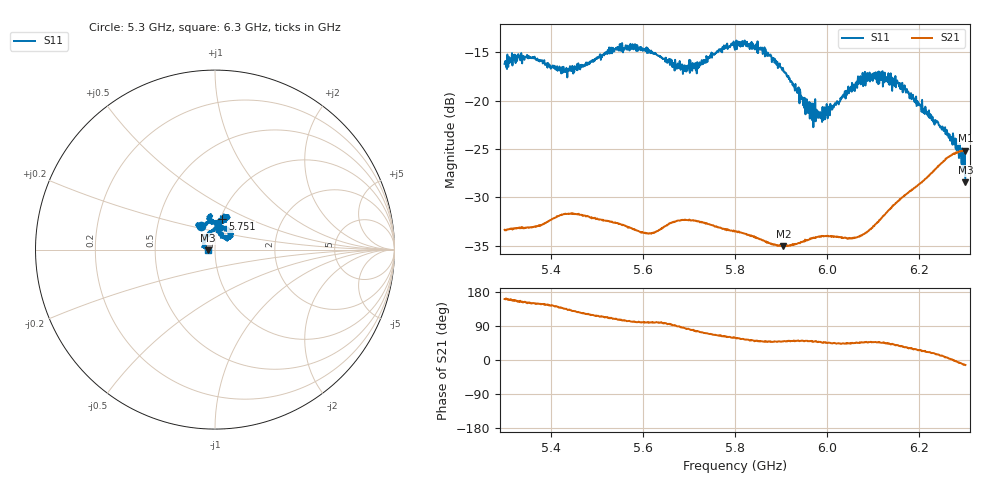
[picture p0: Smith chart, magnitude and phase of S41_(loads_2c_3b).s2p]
! NanoVNA-App
! Date: 2026-11-04 22:40:15
! Start: 5,3GHz Stop: 6,3GHz Points: 1001
! S-Parameter data: F S11 S21 S12 S22
# Hz S RI R 50
!  Frequency  S11_Real  S11_Imag  S21_Real  S21_Imag  S12_Real  S12_Imag  S22_Real  S22_Imag
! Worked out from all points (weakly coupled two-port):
!   1001 points, 5.3 GHz to 6.3 GHz, reference 50 ohm
!   highest |S21| = -25.15 dB at 6.3 GHz (marker M1); lowest = -35.0 dB at 5.905 GHz (marker M2)
!   lowest |S11| = -28.4 dB at 6.3 GHz (marker M3), VSWR 1.08, Z = 46.4 - j0.445 ohm
!   |S11| at or under -10 dB: start of sweep to end of sweep
!   S12 and S22 are empty: the file has one direction only
!   S11 on the Smith chart (normalised r, x): 5.3 GHz: 0.82, +0.22; 5.751 GHz: 1.02, +0.36; 6.3 GHz: 0.93, -0.01
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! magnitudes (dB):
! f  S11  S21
! 5.3 GHz  -16.2  -33.4
! 5.349 GHz  -15.3  -33.1
! 5.431 GHz  -17.0  -31.7
! 5.467 GHz  -16.3  -31.8
! 5.55 GHz  -14.1  -32.7
! 5.607 GHz  -14.8  -33.7
! 5.634 GHz  -15.4  -33.4
! 5.692 GHz  -16.9  -32.3
! 5.72 GHz  -16.6  -32.5
! 5.751 GHz  -15.1  -32.9
! 5.8 GHz  -14.7  -33.5
! 5.854 GHz  -14.7  -34.3
! 5.905 GHz  -16.9  -35.0
! 5.967 GHz  -21.1  -34.2
! 5.992 GHz  -21.8  -34.0
! 6.066 GHz  -18.1  -34.1
! 6.105 GHz  -17.1  -32.8
! 6.134 GHz  -18.3  -31.3
! 6.173 GHz  -18.8  -29.6
! 6.273 GHz  -23.4  -25.5
! 6.293 GHz  -24.9  -25.2
! 6.3 GHz  -28.4  -25.2
